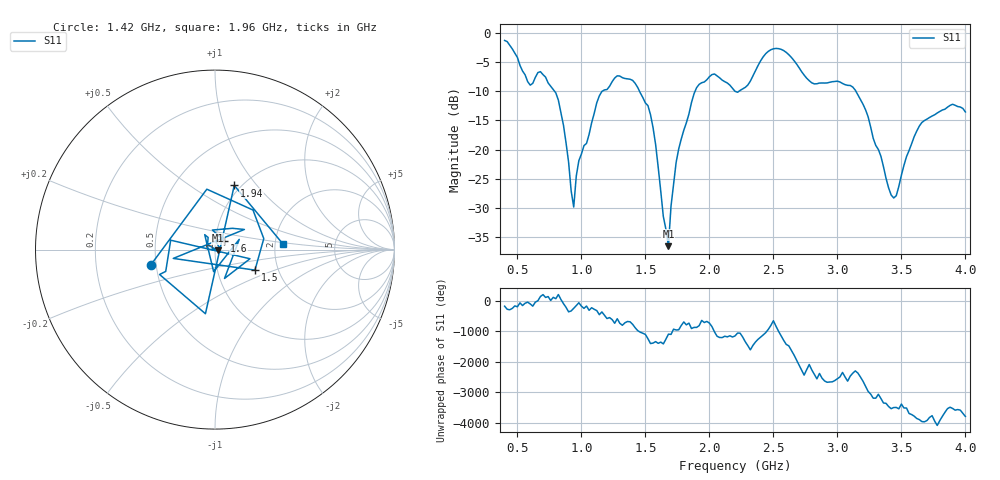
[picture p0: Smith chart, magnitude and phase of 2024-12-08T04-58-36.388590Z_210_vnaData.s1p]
!Created with skrf (http://scikit-rf.org).
# Hz S RI R 50.0
!freq ReS11 ImS11
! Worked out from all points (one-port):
!   181 points, 400 MHz to 4 GHz, reference 50 ohm
!   lowest |S11| = -36.5 dB at 1.68 GHz (marker M1), VSWR 1.03, Z = 51.4 - j0.452 ohm
!   |S11| at or under -10 dB: 789.7 MHz to 1.164 GHz (374.4 MHz wide, 38.3 % of centre); 1.454 GHz to 1.889 GHz (435.2 MHz wide, 26 % of centre); 3.144 GHz to end of sweep (the widest 3 of 4)
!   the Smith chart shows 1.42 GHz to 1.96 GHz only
!   S11 on the Smith chart (normalised r, x): 1.42 GHz: 0.47, -0.09; 1.5 GHz: 1.52, -0.37; 1.6 GHz: 1.11, +0.10; 1.94 GHz: 0.93, +0.77; 1.96 GHz: 2.20, +0.17
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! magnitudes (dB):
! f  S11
! 400 MHz  -1.3
! 600 MHz  -9.0
! 720 MHz  -7.6
! 800 MHz  -10.3
! 860 MHz  -15.8
! 940 MHz  -29.8
! 980 MHz  -21.9
! 1.12 GHz  -12.0
! 1.3 GHz  -7.4
! 1.42 GHz  -8.7
! 1.5 GHz  -12.0
! 1.54 GHz  -14.0
! 1.6 GHz  -23.0
! 1.68 GHz  -36.5
! 1.7 GHz  -29.7
! 1.76 GHz  -19.9
! 1.94 GHz  -8.6
! 1.96 GHz  -8.4
! 2.2 GHz  -10.0
! 2.48 GHz  -2.9
! 2.66 GHz  -4.7
! 2.8 GHz  -8.6
! 3.1 GHz  -9.0
! 3.22 GHz  -13.2
! 3.44 GHz  -28.3
! 3.56 GHz  -20.2
! 3.68 GHz  -15.0
! 4 GHz  -13.6
